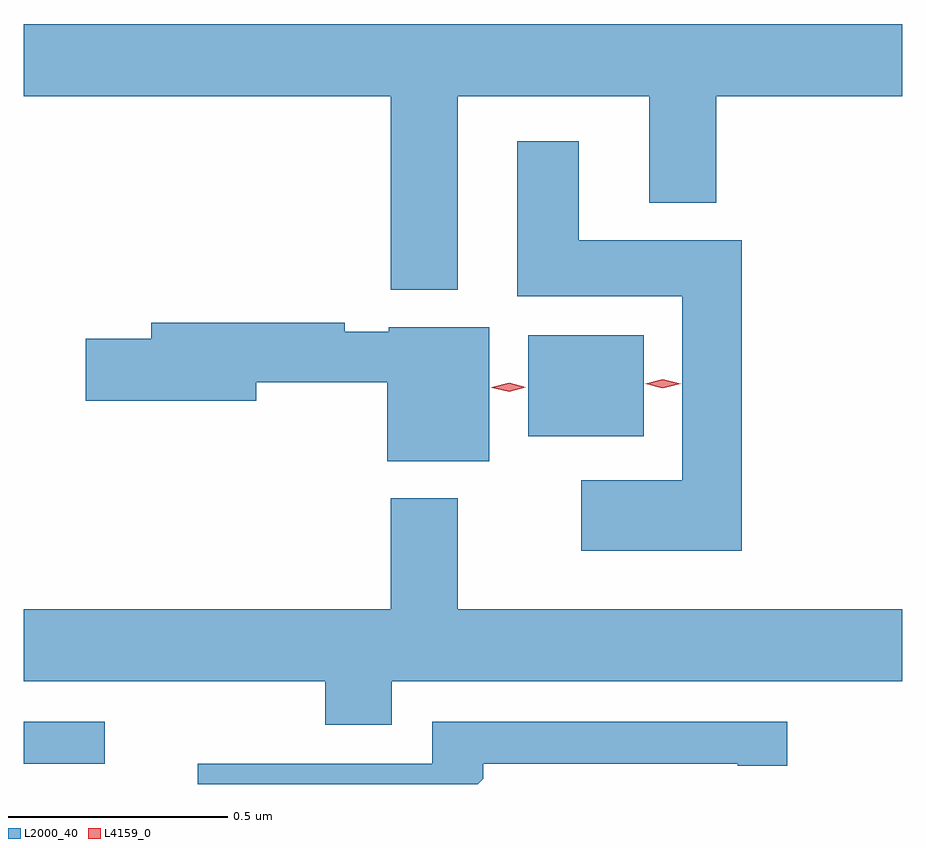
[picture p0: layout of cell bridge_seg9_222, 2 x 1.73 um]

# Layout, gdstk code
import gdstk
lib = gdstk.Library(unit=1e-6, precision=1e-09)
def R(c, l, rs):  # rectangles x0, y0, x1, y1
    for r in rs: c.add(gdstk.rectangle(r[:2], r[2:], *l))
def P(c, l, *ps):  # polygons
    for p in ps: c.add(gdstk.Polygon(p, *l))
L2000_40 = (2000, 40)
L4159_0 = (4159, 0)

bridge_seg9_222 = lib.new_cell('bridge_seg9_222')
R(bridge_seg9_222, L2000_40, [(230.241,1202.892,230.425,1202.988), (231.389,1203.638,231.652,1203.868)])
P(bridge_seg9_222, L2000_40, [(231.229,1204.412),(231.665,1204.412),(231.665,1204.169),(231.818,1204.169),(231.818,1204.412),(232.241,1204.412),(232.241,1204.576),(230.241,1204.576),(230.241,1204.412),(231.077,1204.412),(231.077,1203.971),(231.229,1203.971)],
  [(231.875,1204.084),(231.505,1204.084),(231.505,1204.309),(231.365,1204.309),(231.365,1203.956),(231.74,1203.956),(231.74,1203.538),(231.51,1203.538),(231.51,1203.377),(231.875,1203.377)],
  [(231.301,1203.886),(231.072,1203.886),(231.072,1203.876),(230.972,1203.876),(230.972,1203.896),(230.531,1203.896),(230.531,1203.86),(230.382,1203.86),(230.382,1203.718),(230.77,1203.718),(230.77,1203.76),(231.068,1203.76),(231.068,1203.581),(231.301,1203.581)],
  [(231.079,1203.08),(232.241,1203.08),(232.241,1203.244),(231.229,1203.244),(231.229,1203.496),(231.077,1203.496),(231.077,1203.244),(230.241,1203.244),(230.241,1203.08),(230.927,1203.08),(230.927,1202.981),(231.079,1202.981)],
  [(231.287,1202.858),(231.287,1202.892),(231.866,1202.892),(231.866,1202.887),(231.979,1202.887),(231.979,1202.988),(231.171,1202.988),(231.171,1202.892),(230.637,1202.892),(230.637,1202.846),(231.275,1202.846)])
P(bridge_seg9_222, L4159_0, [(231.696,1203.747),(231.656,1203.757),(231.656,1203.757),(231.656,1203.757),(231.696,1203.767),(231.737,1203.757),(231.737,1203.757),(231.737,1203.757)],
  [(231.346,1203.739),(231.307,1203.748),(231.307,1203.749),(231.307,1203.749),(231.346,1203.759),(231.384,1203.749),(231.384,1203.749),(231.384,1203.749)])

lib.write_gds('bridge_seg9_222.gds')
